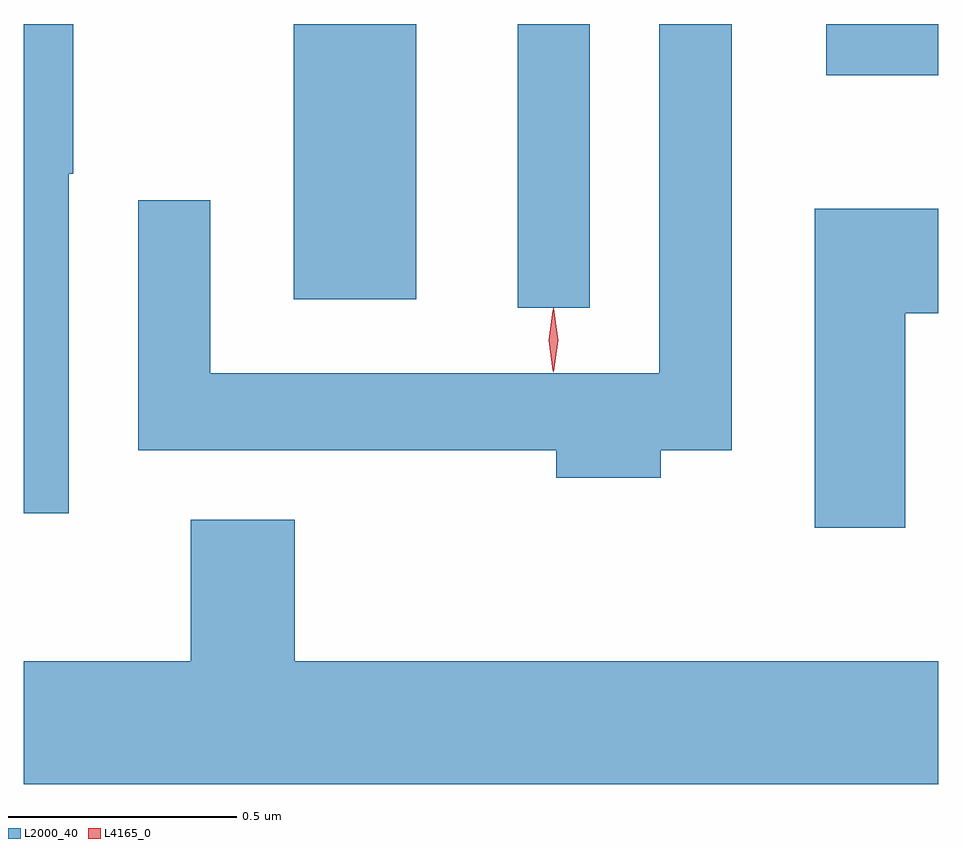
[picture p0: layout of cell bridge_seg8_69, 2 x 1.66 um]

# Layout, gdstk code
import gdstk
lib = gdstk.Library(unit=1e-6, precision=1e-09)
def R(c, l, rs):  # rectangles x0, y0, x1, y1
    for r in rs: c.add(gdstk.rectangle(r[:2], r[2:], *l))
def P(c, l, *ps):  # polygons
    for p in ps: c.add(gdstk.Polygon(p, *l))
L2000_40 = (2000, 40)
L4165_0 = (4165, 0)

bridge_seg8_69 = lib.new_cell('bridge_seg8_69')
R(bridge_seg8_69, L2000_40, [(1570.696,1810.818,1570.854,1811.438), (1570.206,1810.836,1570.474,1811.438), (1571.371,1811.326,1571.616,1811.438)])
P(bridge_seg8_69, L2000_40, [(1569.714,1811.11),(1569.724,1811.11),(1569.724,1811.438),(1569.616,1811.438),(1569.616,1810.368),(1569.714,1810.368)],
  [(1571.009,1810.506),(1571.164,1810.506),(1571.164,1811.438),(1571.006,1811.438),(1571.006,1810.674),(1570.024,1810.674),(1570.024,1811.053),(1569.866,1811.053),(1569.866,1810.506),(1570.781,1810.506),(1570.781,1810.446),(1571.009,1810.446)],
  [(1571.544,1810.806),(1571.616,1810.806),(1571.616,1811.034),(1571.346,1811.034),(1571.346,1810.336),(1571.544,1810.336)],
  [(1569.981,1810.354),(1569.981,1810.044),(1569.616,1810.044),(1569.616,1809.776),(1571.616,1809.776),(1571.616,1810.044),(1570.209,1810.044),(1570.209,1810.354)])
P(bridge_seg8_69, L4165_0, [(1570.774,1810.679),(1570.773,1810.68),(1570.764,1810.746),(1570.773,1810.812),(1570.774,1810.813),(1570.774,1810.812),(1570.784,1810.746),(1570.774,1810.68)],
  [(1570.774,1810.677),(1570.765,1810.746),(1570.774,1810.816),(1570.775,1810.816),(1570.775,1810.816),(1570.785,1810.746),(1570.775,1810.677),(1570.775,1810.677)])

lib.write_gds('bridge_seg8_69.gds')
